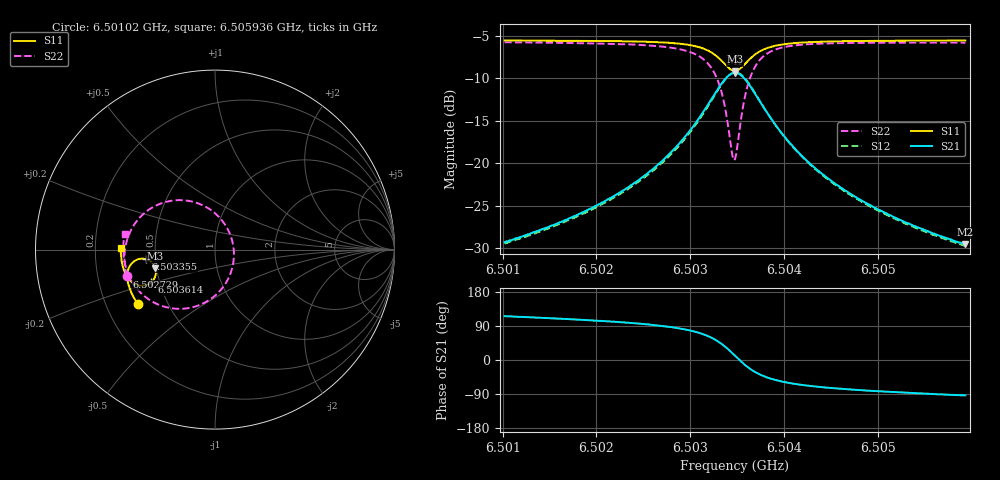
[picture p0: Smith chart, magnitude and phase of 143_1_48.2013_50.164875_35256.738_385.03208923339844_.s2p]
#  HZ  S  RI  R  50.00
! Rohde & Schwarz Vector Network Analyzer
! Rohde-Schwarz,ZNB20-2Port,1311601062101988,3.16
! Created: UTC 3/20/2024, 11:42:23 AM
! freq[Hz]  re:S11  im:S11  re:S21  im:S21  re:S12  im:S12  re:S22  im:S22
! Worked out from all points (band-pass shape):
!   401 points, 6.50102 GHz to 6.505936 GHz, reference 50 ohm
!   highest |S21| = -9.38 dB at 6.503478 GHz (marker M1); lowest = -29.5 dB at 6.505936 GHz (marker M2)
!   |S21| within 3 dB of the highest: 6.503232 GHz to 6.503724 GHz (491.4 kHz wide, 0.00756 % of centre)
!   lowest |S11| = -9.2 dB at 6.503478 GHz (marker M3), VSWR 2.07, Z = 24.6 - j5.82 ohm
!   |S11| at or under -10 dB: nowhere
!   |S22| runs from -19.6 to -5.8 dB; largest |S21 - S12| = 0.012
!   S11 on the Smith chart (normalised r, x): 6.50102 GHz: 0.34, -0.29; 6.502729 GHz: 0.33, -0.14; 6.503355 GHz: 0.44, -0.05; 6.503614 GHz: 0.45, -0.19; 6.505936 GHz: 0.31, +0.01
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6.5010205e9  -0.4295 -0.3046  -0.0148 0.0309  -0.0131 0.031  -0.4923 -0.1469
6.5018439e9  -0.4645 -0.243  -0.0141 0.0492  -0.0116 0.0487  -0.5042 -0.0581
6.5023232e9  -0.4808 -0.1997  -0.0106 0.0705  -0.00758 0.0692  -0.4995 0.0124
6.5026673e9  -0.4883 -0.1607  -0.0014 0.0991  0.00217 0.0967  -0.4795 0.0838
6.5027287e9  -0.4889 -0.1525  0.00171 0.1065  0.00541 0.1036  -0.4723 0.1
6.5029499e9  -0.4853 -0.1174  0.0239 0.1419  0.0276 0.1375  -0.426 0.1709
6.5031097e9  -0.4706 -0.0851  0.0633 0.1779  0.0663 0.1721  -0.349 0.2348
6.5032572e9  -0.4328 -0.0554  0.1455 0.2069  0.1462 0.2003  -0.1992 0.2757
6.5033555e9  -0.3864 -0.0527  0.2371 0.1897  0.2373 0.1849  -0.0401 0.2318
6.5034415e9  -0.3434 -0.0819  0.3154 0.1148  0.3179 0.1103  0.0847 0.0837
6.5034661e9  -0.3354 -0.0962  0.3287 0.0829  0.332 0.0775  0.1015 0.0234
6.5034784e9  -0.3326 -0.104  0.333 0.0657  0.3365 0.0601  0.1052 -0.00831
6.5035029e9  -0.3297 -0.1204  0.3365 0.0308  0.3401 0.024  0.1022 -0.072
6.5035398e9  -0.3319 -0.1445  0.3289 -0.0191  0.3321 -0.0283  0.0745 -0.161
6.5036136e9  -0.3543 -0.1812  0.2819 -0.0953  0.2815 -0.1071  -0.0365 -0.2838
6.5037119e9  -0.3952 -0.2006  0.2034 -0.1386  0.1984 -0.1487  -0.1961 -0.33
6.5038716e9  -0.4445 -0.1932  0.1154 -0.1379  0.1081 -0.1433  -0.3563 -0.2856
6.504056e9  -0.475 -0.1703  0.0652 -0.1156  0.0589 -0.1178  -0.4378 -0.2139
6.5043018e9  -0.4959 -0.1404  0.0346 -0.0904  0.0297 -0.0908  -0.4817 -0.14
6.5046581e9  -0.5111 -0.1026  0.0157 -0.067  0.0122 -0.0667  -0.5041 -0.0666
6.5051251e9  -0.5209 -0.0591  0.0052 -0.0493  0.00284 -0.0487  -0.5108 0.00138
6.5059362e9  -0.526 0.00999  -0.00196 -0.0333  -0.00337 -0.0323  -0.5032 0.0887
